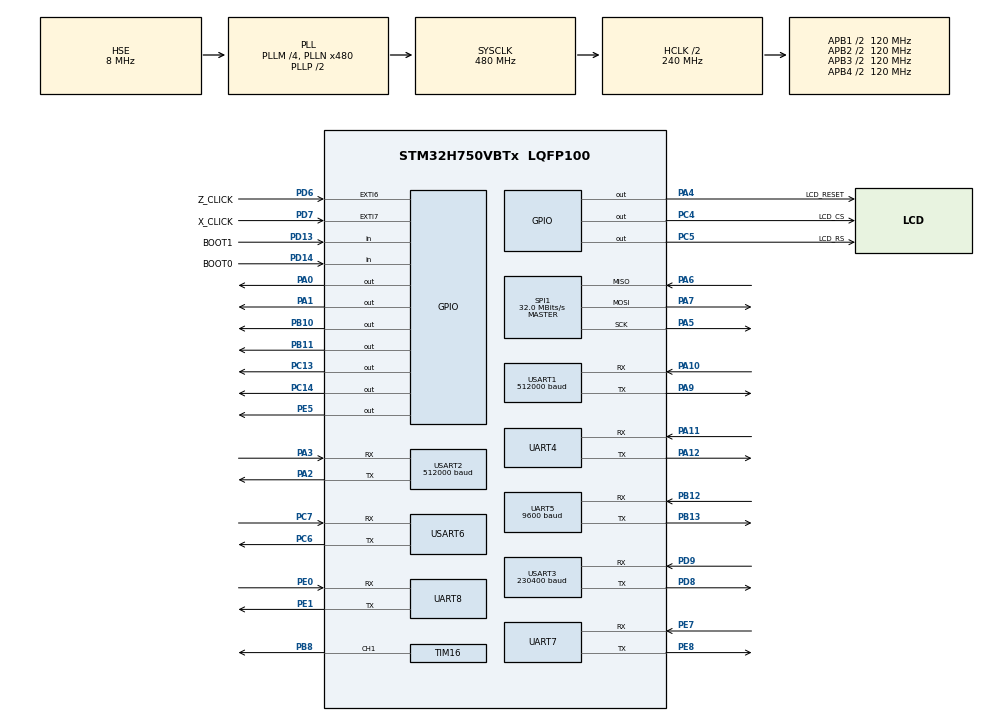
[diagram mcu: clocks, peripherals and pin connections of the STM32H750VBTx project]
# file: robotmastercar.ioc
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Dma.Request0=USART2_TX
Dma.Request1=SPI1_TX
Dma.Request10=TIM16_CH1
Dma.Request2=USART6_RX
Dma.Request3=USART6_TX
Dma.Request4=USART3_RX
Dma.Request5=USART3_TX
Dma.Request6=USART2_RX
Dma.Request7=UART5_TX
Dma.Request8=UART8_RX
Dma.Request9=UART8_TX
Dma.SPI1_TX.1.Direction=DMA_MEMORY_TO_PERIPH
Dma.SPI1_TX.1.EventEnable=DISABLE
Dma.SPI1_TX.1.FIFOMode=DMA_FIFOMODE_DISABLE
Dma.SPI1_TX.1.Instance=DMA1_Stream7
Dma.SPI1_TX.1.MemDataAlignment=DMA_MDATAALIGN_BYTE
Dma.SPI1_TX.1.MemInc=DMA_MINC_ENABLE
Dma.SPI1_TX.1.Mode=DMA_NORMAL
Dma.SPI1_TX.1.PeriphDataAlignment=DMA_PDATAALIGN_BYTE
Dma.SPI1_TX.1.PeriphInc=DMA_PINC_DISABLE
Dma.SPI1_TX.1.Polarity=HAL_DMAMUX_REQ_GEN_RISING
Dma.SPI1_TX.1.Priority=DMA_PRIORITY_LOW
Dma.SPI1_TX.1.RequestNumber=1
Dma.SPI1_TX.1.SignalID=NONE
Dma.SPI1_TX.1.SyncEnable=DISABLE
Dma.SPI1_TX.1.SyncPolarity=HAL_DMAMUX_SYNC_NO_EVENT
Dma.SPI1_TX.1.SyncRequestNumber=1
Dma.SPI1_TX.1.SyncSignalID=NONE
Dma.TIM16_CH1.10.Direction=DMA_MEMORY_TO_PERIPH
Dma.TIM16_CH1.10.EventEnable=DISABLE
Dma.TIM16_CH1.10.FIFOMode=DMA_FIFOMODE_DISABLE
Dma.TIM16_CH1.10.Instance=DMA2_Stream2
Dma.TIM16_CH1.10.MemDataAlignment=DMA_MDATAALIGN_HALFWORD
Dma.TIM16_CH1.10.MemInc=DMA_MINC_ENABLE
Dma.TIM16_CH1.10.Mode=DMA_NORMAL
Dma.TIM16_CH1.10.PeriphDataAlignment=DMA_PDATAALIGN_HALFWORD
Dma.TIM16_CH1.10.PeriphInc=DMA_PINC_DISABLE
Dma.TIM16_CH1.10.Polarity=HAL_DMAMUX_REQ_GEN_RISING
Dma.TIM16_CH1.10.Priority=DMA_PRIORITY_LOW
Dma.TIM16_CH1.10.RequestNumber=1
Dma.TIM16_CH1.10.SignalID=NONE
Dma.TIM16_CH1.10.SyncEnable=DISABLE
Dma.TIM16_CH1.10.SyncPolarity=HAL_DMAMUX_SYNC_NO_EVENT
Dma.TIM16_CH1.10.SyncRequestNumber=1
Dma.TIM16_CH1.10.SyncSignalID=NONE
Dma.UART5_TX.7.Direction=DMA_MEMORY_TO_PERIPH
Dma.UART5_TX.7.EventEnable=DISABLE
Dma.UART5_TX.7.FIFOMode=DMA_FIFOMODE_DISABLE
Dma.UART5_TX.7.Instance=DMA1_Stream4
Dma.UART5_TX.7.MemDataAlignment=DMA_MDATAALIGN_BYTE
Dma.UART5_TX.7.MemInc=DMA_MINC_ENABLE
Dma.UART5_TX.7.Mode=DMA_NORMAL
Dma.UART5_TX.7.PeriphDataAlignment=DMA_PDATAALIGN_BYTE
Dma.UART5_TX.7.PeriphInc=DMA_PINC_DISABLE
Dma.UART5_TX.7.Polarity=HAL_DMAMUX_REQ_GEN_RISING
Dma.UART5_TX.7.Priority=DMA_PRIORITY_LOW
Dma.UART5_TX.7.RequestNumber=1
Dma.UART5_TX.7.SignalID=NONE
Dma.UART5_TX.7.SyncEnable=DISABLE
Dma.UART5_TX.7.SyncPolarity=HAL_DMAMUX_SYNC_NO_EVENT
Dma.UART5_TX.7.SyncRequestNumber=1
Dma.UART5_TX.7.SyncSignalID=NONE
Dma.UART8_RX.8.Direction=DMA_PERIPH_TO_MEMORY
Dma.UART8_RX.8.EventEnable=DISABLE
Dma.UART8_RX.8.FIFOMode=DMA_FIFOMODE_DISABLE
Dma.UART8_RX.8.Instance=DMA2_Stream0
Dma.UART8_RX.8.MemDataAlignment=DMA_MDATAALIGN_BYTE
Dma.UART8_RX.8.MemInc=DMA_MINC_ENABLE
Dma.UART8_RX.8.Mode=DMA_NORMAL
Dma.UART8_RX.8.PeriphDataAlignment=DMA_PDATAALIGN_BYTE
Dma.UART8_RX.8.PeriphInc=DMA_PINC_DISABLE
Dma.UART8_RX.8.Polarity=HAL_DMAMUX_REQ_GEN_RISING
Dma.UART8_RX.8.Priority=DMA_PRIORITY_LOW
Dma.UART8_RX.8.RequestNumber=1
Dma.UART8_RX.8.SignalID=NONE
Dma.UART8_RX.8.SyncEnable=DISABLE
Dma.UART8_RX.8.SyncPolarity=HAL_DMAMUX_SYNC_NO_EVENT
Dma.UART8_RX.8.SyncRequestNumber=1
Dma.UART8_RX.8.SyncSignalID=NONE
Dma.UART8_TX.9.Direction=DMA_MEMORY_TO_PERIPH
Dma.UART8_TX.9.EventEnable=DISABLE
Dma.UART8_TX.9.FIFOMode=DMA_FIFOMODE_DISABLE
Dma.UART8_TX.9.Instance=DMA2_Stream1
Dma.UART8_TX.9.MemDataAlignment=DMA_MDATAALIGN_BYTE
Dma.UART8_TX.9.MemInc=DMA_MINC_ENABLE
Dma.UART8_TX.9.Mode=DMA_NORMAL
Dma.UART8_TX.9.PeriphDataAlignment=DMA_PDATAALIGN_BYTE
Dma.UART8_TX.9.PeriphInc=DMA_PINC_DISABLE
Dma.UART8_TX.9.Polarity=HAL_DMAMUX_REQ_GEN_RISING
Dma.UART8_TX.9.Priority=DMA_PRIORITY_LOW
Dma.UART8_TX.9.RequestNumber=1
Dma.UART8_TX.9.SignalID=NONE
Dma.UART8_TX.9.SyncEnable=DISABLE
Dma.UART8_TX.9.SyncPolarity=HAL_DMAMUX_SYNC_NO_EVENT
Dma.UART8_TX.9.SyncRequestNumber=1
Dma.UART8_TX.9.SyncSignalID=NONE
Dma.USART2_RX.6.Direction=DMA_PERIPH_TO_MEMORY
Dma.USART2_RX.6.EventEnable=DISABLE
Dma.USART2_RX.6.FIFOMode=DMA_FIFOMODE_DISABLE
Dma.USART2_RX.6.Instance=DMA1_Stream3
Dma.USART2_RX.6.MemDataAlignment=DMA_MDATAALIGN_BYTE
Dma.USART2_RX.6.MemInc=DMA_MINC_ENABLE
Dma.USART2_RX.6.Mode=DMA_NORMAL
Dma.USART2_RX.6.PeriphDataAlignment=DMA_PDATAALIGN_BYTE
Dma.USART2_RX.6.PeriphInc=DMA_PINC_DISABLE
Dma.USART2_RX.6.Polarity=HAL_DMAMUX_REQ_GEN_RISING
Dma.USART2_RX.6.Priority=DMA_PRIORITY_LOW
Dma.USART2_RX.6.RequestNumber=1
Dma.USART2_RX.6.SignalID=NONE
Dma.USART2_RX.6.SyncEnable=DISABLE
Dma.USART2_RX.6.SyncPolarity=HAL_DMAMUX_SYNC_NO_EVENT
Dma.USART2_RX.6.SyncRequestNumber=1
Dma.USART2_RX.6.SyncSignalID=NONE
Dma.USART2_TX.0.Direction=DMA_MEMORY_TO_PERIPH
Dma.USART2_TX.0.EventEnable=DISABLE
Dma.USART2_TX.0.FIFOMode=DMA_FIFOMODE_DISABLE
Dma.USART2_TX.0.Instance=DMA1_Stream1
Dma.USART2_TX.0.MemDataAlignment=DMA_MDATAALIGN_BYTE
Dma.USART2_TX.0.MemInc=DMA_MINC_ENABLE
Dma.USART2_TX.0.Mode=DMA_NORMAL
Dma.USART2_TX.0.PeriphDataAlignment=DMA_PDATAALIGN_BYTE
Dma.USART2_TX.0.PeriphInc=DMA_PINC_DISABLE
Dma.USART2_TX.0.Polarity=HAL_DMAMUX_REQ_GEN_RISING
Dma.USART2_TX.0.Priority=DMA_PRIORITY_LOW
Dma.USART2_TX.0.RequestNumber=1
Dma.USART2_TX.0.SignalID=NONE
Dma.USART2_TX.0.SyncEnable=DISABLE
Dma.USART2_TX.0.SyncPolarity=HAL_DMAMUX_SYNC_NO_EVENT
Dma.USART2_TX.0.SyncRequestNumber=1
Dma.USART2_TX.0.SyncSignalID=NONE
Dma.USART3_RX.4.Direction=DMA_PERIPH_TO_MEMORY
Dma.USART3_RX.4.EventEnable=DISABLE
Dma.USART3_RX.4.FIFOMode=DMA_FIFOMODE_DISABLE
Dma.USART3_RX.4.Instance=DMA1_Stream0
Dma.USART3_RX.4.MemDataAlignment=DMA_MDATAALIGN_BYTE
Dma.USART3_RX.4.MemInc=DMA_MINC_ENABLE
Dma.USART3_RX.4.Mode=DMA_NORMAL
Dma.USART3_RX.4.PeriphDataAlignment=DMA_PDATAALIGN_BYTE
Dma.USART3_RX.4.PeriphInc=DMA_PINC_DISABLE
Dma.USART3_RX.4.Polarity=HAL_DMAMUX_REQ_GEN_RISING
Dma.USART3_RX.4.Priority=DMA_PRIORITY_LOW
Dma.USART3_RX.4.RequestNumber=1
Dma.USART3_RX.4.SignalID=NONE
Dma.USART3_RX.4.SyncEnable=DISABLE
Dma.USART3_RX.4.SyncPolarity=HAL_DMAMUX_SYNC_NO_EVENT
Dma.USART3_RX.4.SyncRequestNumber=1
Dma.USART3_RX.4.SyncSignalID=NONE
Dma.USART3_TX.5.Direction=DMA_MEMORY_TO_PERIPH
Dma.USART3_TX.5.EventEnable=DISABLE
Dma.USART3_TX.5.FIFOMode=DMA_FIFOMODE_DISABLE
Dma.USART3_TX.5.Instance=DMA1_Stream2
Dma.USART3_TX.5.MemDataAlignment=DMA_MDATAALIGN_BYTE
Dma.USART3_TX.5.MemInc=DMA_MINC_ENABLE
Dma.USART3_TX.5.Mode=DMA_NORMAL
Dma.USART3_TX.5.PeriphDataAlignment=DMA_PDATAALIGN_BYTE
Dma.USART3_TX.5.PeriphInc=DMA_PINC_DISABLE
Dma.USART3_TX.5.Polarity=HAL_DMAMUX_REQ_GEN_RISING
Dma.USART3_TX.5.Priority=DMA_PRIORITY_LOW
Dma.USART3_TX.5.RequestNumber=1
Dma.USART3_TX.5.SignalID=NONE
Dma.USART3_TX.5.SyncEnable=DISABLE
Dma.USART3_TX.5.SyncPolarity=HAL_DMAMUX_SYNC_NO_EVENT
Dma.USART3_TX.5.SyncRequestNumber=1
Dma.USART3_TX.5.SyncSignalID=NONE
Dma.USART6_RX.2.Direction=DMA_PERIPH_TO_MEMORY
Dma.USART6_RX.2.EventEnable=DISABLE
Dma.USART6_RX.2.FIFOMode=DMA_FIFOMODE_DISABLE
Dma.USART6_RX.2.Instance=DMA1_Stream5
Dma.USART6_RX.2.MemDataAlignment=DMA_MDATAALIGN_BYTE
Dma.USART6_RX.2.MemInc=DMA_MINC_ENABLE
Dma.USART6_RX.2.Mode=DMA_NORMAL
Dma.USART6_RX.2.PeriphDataAlignment=DMA_PDATAALIGN_BYTE
Dma.USART6_RX.2.PeriphInc=DMA_PINC_DISABLE
Dma.USART6_RX.2.Polarity=HAL_DMAMUX_REQ_GEN_RISING
Dma.USART6_RX.2.Priority=DMA_PRIORITY_LOW
Dma.USART6_RX.2.RequestNumber=1
Dma.USART6_RX.2.SignalID=NONE
Dma.USART6_RX.2.SyncEnable=DISABLE
Dma.USART6_RX.2.SyncPolarity=HAL_DMAMUX_SYNC_NO_EVENT
Dma.USART6_RX.2.SyncRequestNumber=1
Dma.USART6_RX.2.SyncSignalID=NONE
Dma.USART6_TX.3.Direction=DMA_MEMORY_TO_PERIPH
Dma.USART6_TX.3.EventEnable=DISABLE
Dma.USART6_TX.3.FIFOMode=DMA_FIFOMODE_DISABLE
Dma.USART6_TX.3.Instance=DMA1_Stream6
Dma.USART6_TX.3.MemDataAlignment=DMA_MDATAALIGN_BYTE
Dma.USART6_TX.3.MemInc=DMA_MINC_ENABLE
Dma.USART6_TX.3.Mode=DMA_NORMAL
Dma.USART6_TX.3.PeriphDataAlignment=DMA_PDATAALIGN_BYTE
Dma.USART6_TX.3.PeriphInc=DMA_PINC_DISABLE
Dma.USART6_TX.3.Polarity=HAL_DMAMUX_REQ_GEN_RISING
Dma.USART6_TX.3.Priority=DMA_PRIORITY_LOW
Dma.USART6_TX.3.RequestNumber=1
Dma.USART6_TX.3.SignalID=NONE
Dma.USART6_TX.3.SyncEnable=DISABLE
Dma.USART6_TX.3.SyncPolarity=HAL_DMAMUX_SYNC_NO_EVENT
Dma.USART6_TX.3.SyncRequestNumber=1
Dma.USART6_TX.3.SyncSignalID=NONE
Mcu.Family=STM32H7
Mcu.Name=STM32H750VBTx
Mcu.Package=LQFP100
NVIC.DMA1_Stream0_IRQn=true\:0\:0\:false\:false\:true\:false\:true\:true
NVIC.DMA1_Stream1_IRQn=true\:0\:0\:false\:false\:true\:false\:true\:true
NVIC.DMA1_Stream2_IRQn=true\:0\:0\:false\:false\:true\:false\:true\:true
NVIC.DMA1_Stream3_IRQn=true\:0\:0\:false\:false\:true\:false\:true\:true
NVIC.DMA1_Stream4_IRQn=true\:0\:0\:false\:false\:true\:false\:true\:true
NVIC.DMA1_Stream5_IRQn=true\:0\:0\:false\:false\:true\:false\:true\:true
NVIC.DMA1_Stream6_IRQn=true\:0\:0\:false\:false\:true\:false\:true\:true
NVIC.DMA1_Stream7_IRQn=true\:0\:0\:false\:false\:true\:false\:true\:true
NVIC.DMA2_Stream0_IRQn=true\:0\:0\:false\:false\:true\:false\:true\:true
NVIC.DMA2_Stream1_IRQn=true\:0\:0\:false\:false\:true\:false\:true\:true
NVIC.DMA2_Stream2_IRQn=true\:0\:0\:false\:false\:true\:false\:true\:true
NVIC.EXTI9_5_IRQn=true\:0\:0\:false\:false\:true\:true\:true\:true
NVIC.PriorityGroup=NVIC_PRIORITYGROUP_4
NVIC.SPI1_IRQn=true\:0\:0\:false\:false\:true\:false\:true\:true
NVIC.TIM16_IRQn=true\:0\:0\:false\:false\:true\:true\:true\:true
NVIC.TIM2_IRQn=true\:0\:0\:false\:false\:true\:true\:true\:true
NVIC.TIM3_IRQn=true\:0\:0\:false\:false\:true\:true\:true\:true
NVIC.TIM4_IRQn=true\:0\:0\:false\:false\:true\:true\:true\:true
NVIC.TIM5_IRQn=true\:0\:0\:false\:false\:true\:true\:true\:true
NVIC.UART5_IRQn=true\:0\:0\:false\:false\:true\:true\:true\:true
NVIC.UART7_IRQn=true\:0\:0\:false\:false\:true\:true\:true\:true
NVIC.UART8_IRQn=true\:0\:0\:false\:false\:true\:true\:true\:true
NVIC.USART1_IRQn=true\:0\:0\:false\:false\:true\:true\:true\:true
NVIC.USART2_IRQn=true\:0\:0\:false\:false\:true\:true\:true\:true
NVIC.USART3_IRQn=true\:0\:0\:false\:false\:true\:true\:true\:true
NVIC.USART6_IRQn=true\:0\:0\:false\:false\:true\:true\:true\:true
PA0.Signal=GPIO_Output
PA1.Signal=GPIO_Output
PA10.Mode=Asynchronous
PA10.Signal=USART1_RX
PA11.Mode=Asynchronous
PA11.Signal=UART4_RX
PA12.Mode=Asynchronous
PA12.Signal=UART4_TX
PA13\ (JTMS/SWDIO).Mode=Serial_Wire
PA13\ (JTMS/SWDIO).Signal=DEBUG_JTMS-SWDIO
PA14\ (JTCK/SWCLK).Mode=Serial_Wire
PA14\ (JTCK/SWCLK).Signal=DEBUG_JTCK-SWCLK
PA2.Mode=Asynchronous
PA2.Signal=USART2_TX
PA3.Mode=Asynchronous
PA3.Signal=USART2_RX
PA4.GPIO_Label=LCD_RESET
PA4.GPIO_Speed=GPIO_SPEED_FREQ_VERY_HIGH
PA4.PinState=GPIO_PIN_SET
PA4.Signal=GPIO_Output
PA5.GPIO_Speed=GPIO_SPEED_FREQ_VERY_HIGH
PA5.Mode=Full_Duplex_Master
PA5.Signal=SPI1_SCK
PA6.GPIO_Speed=GPIO_SPEED_FREQ_VERY_HIGH
PA6.Mode=Full_Duplex_Master
PA6.Signal=SPI1_MISO
PA7.GPIO_Speed=GPIO_SPEED_FREQ_VERY_HIGH
PA7.Mode=Full_Duplex_Master
PA7.Signal=SPI1_MOSI
PA9.Mode=Asynchronous
PA9.Signal=USART1_TX
PB10.Signal=GPIO_Output
PB11.Signal=GPIO_Output
PB12.Mode=Asynchronous
PB12.Signal=UART5_RX
PB13.Mode=Asynchronous
PB13.Signal=UART5_TX
PB8.Signal=S_TIM16_CH1
PC13.Signal=GPIO_Output
PC14-OSC32_IN\ (OSC32_IN).Signal=GPIO_Output
PC4.GPIO_Label=LCD_CS
PC4.GPIO_Speed=GPIO_SPEED_FREQ_VERY_HIGH
PC4.PinState=GPIO_PIN_SET
PC4.Signal=GPIO_Output
PC5.GPIO_Label=LCD_RS
PC5.GPIO_Speed=GPIO_SPEED_FREQ_VERY_HIGH
PC5.PinState=GPIO_PIN_RESET
PC5.Signal=GPIO_Output
PC6.Mode=Asynchronous
PC6.Signal=USART6_TX
PC7.Mode=Asynchronous
PC7.Signal=USART6_RX
PD13.GPIO_Label=BOOT1
PD13.Signal=GPIO_Input
PD14.GPIO_Label=BOOT0
PD14.Signal=GPIO_Input
PD6.GPIO_Label=Z_CLICK
PD6.GPIO_ModeDefaultEXTI=GPIO_MODE_IT_FALLING
PD6.GPIO_PuPd=GPIO_PULLUP
PD6.Signal=GPXTI6
PD7.GPIO_Label=X_CLICK
PD7.GPIO_ModeDefaultEXTI=GPIO_MODE_IT_FALLING
PD7.GPIO_PuPd=GPIO_PULLUP
PD7.Signal=GPXTI7
PD8.Mode=Asynchronous
PD8.Signal=USART3_TX
PD9.Mode=Asynchronous
PD9.Signal=USART3_RX
PE0.Mode=Asynchronous
PE0.Signal=UART8_RX
PE1.Mode=Asynchronous
PE1.Signal=UART8_TX
PE5.Signal=GPIO_Output
PE7.Mode=Asynchronous
PE7.Signal=UART7_RX
PE8.Mode=Asynchronous
PE8.Signal=UART7_TX
PH0-OSC_IN\ (PH0).Mode=HSE-External-Oscillator
PH0-OSC_IN\ (PH0).Signal=RCC_OSC_IN
PH1-OSC_OUT\ (PH1).Mode=HSE-External-Oscillator
PH1-OSC_OUT\ (PH1).Signal=RCC_OSC_OUT
ProjectManager.HeapSize=0x20000
ProjectManager.StackSize=0x10000
ProjectManager.TargetToolchain=MDK-ARM V5.32
RCC.ADCFreq_Value=16125000
RCC.APB1Freq_Value=120000000
RCC.APB2Freq_Value=120000000
RCC.APB3Freq_Value=120000000
RCC.APB4Freq_Value=120000000
RCC.CortexFreq_Value=480000000
RCC.D1PPRE=RCC_APB3_DIV2
RCC.D2PPRE1=RCC_APB1_DIV2
RCC.D2PPRE2=RCC_APB2_DIV2
RCC.D3PPRE=RCC_APB4_DIV2
RCC.DIVM1=4
RCC.DIVN1=480
RCC.HCLKFreq_Value=240000000
RCC.HPRE=RCC_HCLK_DIV2
RCC.HSE_VALUE=8000000
RCC.PLL1_VCO_SEL-AdvancedSettings=RCC_PLL1VCOMEDIUM
RCC.PLLSourceVirtual=RCC_PLLSOURCE_HSE
RCC.SPI123CLockSelection=RCC_SPI123CLKSOURCE_CLKP
RCC.SYSCLKFreq_VALUE=480000000
RCC.SYSCLKSource=RCC_SYSCLKSOURCE_PLLCLK
RCC.USBFreq_Value=480000000
SH.S_TIM16_CH1.0=TIM16_CH1,PWM Generation1 CH1
SPI1.BaudRatePrescaler=SPI_BAUDRATEPRESCALER_2
SPI1.CalculateBaudRate=32.0 MBits/s
SPI1.DataSize=SPI_DATASIZE_8BIT
SPI1.Direction=SPI_DIRECTION_2LINES
SPI1.Mode=SPI_MODE_MASTER
SPI1.VirtualType=VM_MASTER
TIM16.Channel=TIM_CHANNEL_1
TIM16.OC1Preload_PWM=ENABLE
TIM16.OCFastMode_PWM=TIM_OCFAST_DISABLE
TIM16.Period=4
TIM16.Prescaler=71
TIM3.Period=100
TIM3.Prescaler=240-1
TIM4.Period=1000
TIM4.Prescaler=240-1
TIM5.Period=1000-1
UART5.BaudRate=9600
USART1.BaudRate=512000
USART1.VirtualMode-Asynchronous=VM_ASYNC
USART2.BaudRate=512000
USART2.VirtualMode-Asynchronous=VM_ASYNC
USART3.BaudRate=230400
USART3.FIFOMode=FIFOMODE_DISABLE
USART3.TXFIFOThreshold=TXFIFO_THRESHOLD_EMPTY
USART3.VirtualMode-Asynchronous=VM_ASYNC
USART3.WordLength=WORDLENGTH_8B
USART6.VirtualMode=VM_ASYNC
VP_TIM16_VS_ClockSourceINT.Mode=Enable_Timer
VP_TIM2_VS_ClockSourceINT.Mode=Internal
VP_TIM3_VS_ClockSourceINT.Mode=Internal
VP_TIM4_VS_ClockSourceINT.Mode=Internal
VP_TIM5_VS_ClockSourceINT.Mode=Internal
board=custom

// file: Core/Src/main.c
/* USER CODE BEGIN Header */
/**
 ******************************************************************************
 * @file           : main.c
 * @brief          : Main program body
 ******************************************************************************
 * @attention
 *
 * Copyright (c) 2024 STMicroelectronics.
 * All rights reserved.
 *
 * This software is licensed under terms that can be found in the LICENSE file
 * in the root directory of this software component.
 * If no LICENSE file comes with this software, it is provided AS-IS.
 *
 ******************************************************************************
 */
/* USER CODE END Header */
#include "main.h"
#include "dma.h"
#include "spi.h"
#include "tim.h"
#include "usart.h"
#include "gpio.h"

/* USER CODE BEGIN Includes */
#include "vision.h"
#include "remote_control.h"
#include "Timer.h"
#include "HWT101.h"
#include "maintask.h"
#include "servor_ctl.h"
#include "Chassis.h"
#include "Arm.h"
#include "arm_seqs.h"
#include "screen.h"
// #include "cool_rgb.h"

#include "vision_adjust.h"
#include "maintask.h"

/* USER CODE END Includes */

/* USER CODE BEGIN PTD */
int INIT = 0;
bool INITALIZED = false;
/* USER CODE END PTD */

/* USER CODE BEGIN PM */

uint8_t ctl_flag;
uint8_t work_flag;
uint8_t RC_flag;
uint8_t servor_flag;
float armangle;

ArmAction actiontest;
ArmTarget colortest;

/**
 * @brief 用户在DEBUG中可以修改并用于测试的位姿变量
 */
Pose2f USER_POSE;
float USER_SERVO_ADDR;
float USER_SERVO_ANGLE;

uint16_t LINE_SPEED=100;//500
uint16_t LINE_ACC=50;//150

Point2f visionpositiontest;
/* USER CODE END PM */

/* USER CODE BEGIN PV */
// extern PIDTypeDef AnglePID;
Point2f positiontest {0, 1};

volatile uint8_t arm_test_flag = 0;
volatile ArmAction action_test;
volatile ArmTarget color_test;

/* USER CODE END PV */

void SystemClock_Config(void);
void PeriphCommonClock_Config(void);

int main(void)
{

  /* MCU Configuration--------------------------------------------------------*/

  /* Reset of all peripherals, Initializes the Flash interface and the Systick. */
  HAL_Init();

  /* Configure the system clock */
  SystemClock_Config();

/* Configure the peripherals common clocks */
  PeriphCommonClock_Config();

  /* Initialize all configured peripherals */
  MX_GPIO_Init();
  MX_DMA_Init();
  MX_USART1_UART_Init();
  MX_USART2_UART_Init();
  MX_TIM2_Init();
  MX_UART4_Init();
  MX_UART5_Init();
  MX_UART7_Init();
  MX_UART8_Init();
  MX_USART3_UART_Init();
  MX_USART6_UART_Init();
  MX_SPI1_Init();
  MX_TIM3_Init();
  MX_TIM4_Init();
  MX_TIM5_Init();
  MX_TIM16_Init();
  /* USER CODE BEGIN 2 */
    servor_init(&huart5); // 初始化舵机控制
    arm_ctl_init(&huart8); // 初始化机械臂控制
    vision_init(&huart6); // 初始化视觉通信
    chassis_init(&huart2); // 初始化底盘控制
    HWT101_init(&huart3); // 初始化陀螺仪
    screen_init(&hspi1); // 初始化屏幕
    // cool_rgb_init(&htim16, TIM_CHANNEL_1, 40);

    Timer_Start();

    // PID_Init(&ANGLE_PID, PID_mode_PID, 7, -10, 0, -1, 800, 10, 2); //-0.02
    // PID_Init(&ANGLE_PID2, PID_mode_PID, 7, -0.5, 0, -0.1, 100, 5, 2);
    // PID_Init(&PID_LOCATION_JUST_X, PID_mode_PID, 1, 0.2, 0.0005, 0.1, 100, 0, 2);
    // PID_Init(&PID_LOCATION_JUST_Y, PID_mode_PID, 1, 0.2, 0.0005, 0.1, 100, 0, 2);

    HAL_GPIO_WritePin(GPIOE, GPIO_PIN_5, GPIO_PIN_SET);
  /* USER CODE END 2 */

  /* Infinite loop */
  /* USER CODE BEGIN WHILE */

    // 初始化完毕 ---------------------------------------------------------------
    INITALIZED = true; // 标志着初始化完毕

    // 等待允许启动
    arm_set_state(RESET);
    GPIO_PinState state = GPIO_PIN_SET;
    while (INIT == 0)
    {
      state = HAL_GPIO_ReadPin(BOOT0_GPIO_Port, BOOT0_Pin);
      if (state == GPIO_PIN_RESET) INIT = 1;
    }

    // 使能机械臂，检查机械臂
    arm_zero_reset();
    // 预热摄像头
    vision_idle_pos(idle_inst_QR);
    work_flag = 1;
    while (1)
    {
        work_flag = HAL_GPIO_ReadPin(BOOT1_GPIO_Port, BOOT1_Pin) == GPIO_PIN_RESET
                  ? 1
                  : 0;
        if (arm_test_flag == 1) // 设置角度
        {
            motor_r->move_to(armangle);
        }
        else if (arm_test_flag == 2) // Z轴移动测试
        {
            motor_z->move_to(armangle);
        }
        else if (arm_test_flag == 3) // X轴移动测试
        {
            motor_x->move_to(armangle);
        }
        else if (arm_test_flag == 5) // R旋转测试
        {
            for (int x = 0; x < 20; x++)
            {
                motor_r->move_to(270);
            }
            for (int x = 0; x < 20; x++)
            {
                motor_r->move_to(-270);
            }
            motor_r->move_to(0);
        }
        else if (arm_test_flag == 6)
        {
            Arm_Action(actiontest, colortest);
        } else if (arm_test_flag == 7)
        {
            Point3f target = {.x = visionpositiontest.x, .y = visionpositiontest.y,
                              .z = STEPMOTOR_Z_POSITIONS[2]};
            arm_ground_place(&target);
        } else if (arm_test_flag == 8) // 失能机械臂，供用户校准
        {
            arm_set_state(false);
            wing_ctl(false, true);
            claw_ctl(false, true);
        } else if (arm_test_flag == 9) // 校准机械臂
        {
//            arm_calibrate();
            arm_set_state(true);
        } else if (arm_test_flag == 10)
        {
            arm_position_update();
        } else if (arm_test_flag == 11) // 机械臂直线测试
        {
            Point3f p3f = {-5, -200, -190};
            motor_r->move_to(-180);
            motor_r->arrived();
            motor_z->move_to(-190);
            motor_z->arrived();
            for (int y=-200; y<=200; y+=10)
            {
                p3f.y = y;
                arm_ground_place(&p3f);
                arm_move_sync();
                HAL_Delay(20);
            }
        }

        if (arm_test_flag) arm_test_flag = 0;

        if (servor_flag == 1)
        {
            wing_ctl(false, false);
        } else if (servor_flag == 2)
        {
            wing_ctl(true, false);
        } else if (servor_flag == 3) // 机械爪开
        {
            claw_ctl(false, false);
        } else if (servor_flag == 4)
        {
            claw_ctl(true, false);
        } else if (servor_flag == 5)
        {
            servor_rotate(1000, true, USER_SERVO_ADDR, USER_SERVO_ANGLE);
        }

        if (servor_flag) servor_flag = 0;

        if (ctl_flag == 1)
        {
            while (1)
            {
                USER_POSE.xy.x = 0;
                USER_POSE.xy.y = 2;
                chassis_move(LINE_ACC, LINE_SPEED, USER_POSE.xy);

                USER_POSE.xy.x = 0;
                USER_POSE.xy.y = -2;
                chassis_move(LINE_ACC, LINE_SPEED, USER_POSE.xy);
            }

			chassis_to(LINE_ACC, LINE_SPEED, USER_POSE.xy);
        }
        else if (ctl_flag == 2)
        {
            chassis_rotate_abs(LINE_ACC, LINE_SPEED, USER_POSE.angle);
        } else if (ctl_flag == 3)
        {
            chassis_to(LINE_ACC, LINE_SPEED, USER_POSE.xy);
        }
        if (ctl_flag == 4)
        {
            while (1)
            {
                // for (float x=0; x<360; x+=90)
                // {
                //     chassis_rotate_abs(LINE_ACC, LINE_SPEED, x);
                // }
                chassis_rotate_abs(LINE_ACC, LINE_SPEED, USER_POSE.angle);
                USER_POSE.angle = 90;
                chassis_rotate_abs(LINE_ACC, LINE_SPEED, USER_POSE.angle);
                USER_POSE.angle = -90;
                chassis_rotate_abs(LINE_ACC, LINE_SPEED, USER_POSE.angle);
                USER_POSE.angle = 90;
                chassis_rotate_abs(LINE_ACC, LINE_SPEED, USER_POSE.angle);
            }
        }

        if (ctl_flag == 5)
        {
            chassis_move(LINE_ACC, LINE_SPEED, USER_POSE.xy);
        }
        if (ctl_flag != 0) ctl_flag = 0;

        if (work_flag == 1)
        {

            task();
        } else if (work_flag == 2) // 扫码测试，测试通信用
        {
            vision_subscribe_order();
            vision_sync();
        }
        if (work_flag == 3)
            vision_adjust_chassis(vision_adjust_STORAGE, &points::TEST_STORAGE);
        if (work_flag == 4)
            process_place_task(0);
        if (work_flag == 5)
            materials_task(1);
        if (work_flag == 6)
            storage_place_task(0);
        if (work_flag == 7)
            vision_adjust_chassis(vision_adjust_PLATE, &points::MATERIAL);
        if (work_flag == 8)
            chassis_rotate_move_tall(200, 200,90,positiontest);
        if (work_flag == 9) // 固定三点(-150, 0, 150)测试
            process_place_task(0xff);

        if (RC_flag == 1)
        {
            vision_remote_control_mode();
            remote_control_nowait();
        }
        servor_flag = 0;
        work_flag = 0;
    /* USER CODE END WHILE */

    }
}

void SystemClock_Config(void)
{
  RCC_OscInitTypeDef RCC_OscInitStruct = {0};
  RCC_ClkInitTypeDef RCC_ClkInitStruct = {0};

  /** Supply configuration update enable
  */
  HAL_PWREx_ConfigSupply(PWR_LDO_SUPPLY);

  /** Configure the main internal regulator output voltage
  */
  __HAL_PWR_VOLTAGESCALING_CONFIG(PWR_REGULATOR_VOLTAGE_SCALE1);

  while(!__HAL_PWR_GET_FLAG(PWR_FLAG_VOSRDY)) {}

  __HAL_RCC_SYSCFG_CLK_ENABLE();
  __HAL_PWR_VOLTAGESCALING_CONFIG(PWR_REGULATOR_VOLTAGE_SCALE0);

  while(!__HAL_PWR_GET_FLAG(PWR_FLAG_VOSRDY)) {}

  /** Initializes the RCC Oscillators according to the specified parameters
  * in the RCC_OscInitTypeDef structure.
  */
  RCC_OscInitStruct.OscillatorType = RCC_OSCILLATORTYPE_HSI|RCC_OSCILLATORTYPE_HSE;
  RCC_OscInitStruct.HSEState = RCC_HSE_ON;
  RCC_OscInitStruct.HSIState = RCC_HSI_DIV1;
  RCC_OscInitStruct.HSICalibrationValue = RCC_HSICALIBRATION_DEFAULT;
  RCC_OscInitStruct.PLL.PLLState = RCC_PLL_ON;
  RCC_OscInitStruct.PLL.PLLSource = RCC_PLLSOURCE_HSE;
  RCC_OscInitStruct.PLL.PLLM = 4;
  RCC_OscInitStruct.PLL.PLLN = 480;
  RCC_OscInitStruct.PLL.PLLP = 2;
  RCC_OscInitStruct.PLL.PLLQ = 2;
  RCC_OscInitStruct.PLL.PLLR = 2;
  RCC_OscInitStruct.PLL.PLLRGE = RCC_PLL1VCIRANGE_1;
  RCC_OscInitStruct.PLL.PLLVCOSEL = RCC_PLL1VCOWIDE;
  RCC_OscInitStruct.PLL.PLLFRACN = 0;
  if (HAL_RCC_OscConfig(&RCC_OscInitStruct) != HAL_OK)
  {
    Error_Handler();
  }

  /** Initializes the CPU, AHB and APB buses clocks
  */
  RCC_ClkInitStruct.ClockType = RCC_CLOCKTYPE_HCLK|RCC_CLOCKTYPE_SYSCLK
                              |RCC_CLOCKTYPE_PCLK1|RCC_CLOCKTYPE_PCLK2
                              |RCC_CLOCKTYPE_D3PCLK1|RCC_CLOCKTYPE_D1PCLK1;
  RCC_ClkInitStruct.SYSCLKSource = RCC_SYSCLKSOURCE_PLLCLK;
  RCC_ClkInitStruct.SYSCLKDivider = RCC_SYSCLK_DIV1;
  RCC_ClkInitStruct.AHBCLKDivider = RCC_HCLK_DIV2;
  RCC_ClkInitStruct.APB3CLKDivider = RCC_APB3_DIV2;
  RCC_ClkInitStruct.APB1CLKDivider = RCC_APB1_DIV2;
  RCC_ClkInitStruct.APB2CLKDivider = RCC_APB2_DIV2;
  RCC_ClkInitStruct.APB4CLKDivider = RCC_APB4_DIV2;

  if (HAL_RCC_ClockConfig(&RCC_ClkInitStruct, FLASH_LATENCY_4) != HAL_OK)
  {
    Error_Handler();
  }
}

void PeriphCommonClock_Config(void)
{
  RCC_PeriphCLKInitTypeDef PeriphClkInitStruct = {0};

  /** Initializes the peripherals clock
  */
  PeriphClkInitStruct.PeriphClockSelection = RCC_PERIPHCLK_CKPER;
  PeriphClkInitStruct.CkperClockSelection = RCC_CLKPSOURCE_HSI;
  if (HAL_RCCEx_PeriphCLKConfig(&PeriphClkInitStruct) != HAL_OK)
  {
    Error_Handler();
  }
}

void Error_Handler(void)
{
    __disable_irq();
    while (1)
    {
    }
}
